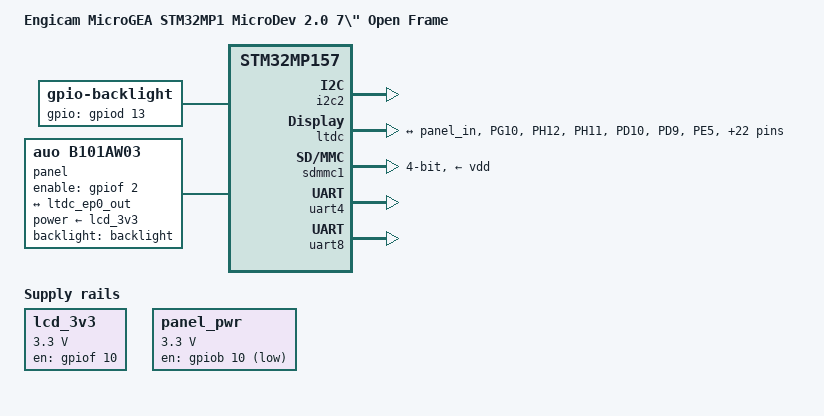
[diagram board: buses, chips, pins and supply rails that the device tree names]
// SPDX-License-Identifier: (GPL-2.0+ OR BSD-3-Clause)
/*
 * Copyright (c) STMicroelectronics 2019 - All Rights Reserved
 * Copyright (c) 2020 Engicam srl
 * Copyright (c) 2020 Amarula Solutons(India)
 */

/dts-v1/;
#include "stm32mp157.dtsi"
#include "stm32mp157a-microgea-stm32mp1.dtsi"
#include "stm32mp15-pinctrl.dtsi"
#include "stm32mp15xxaa-pinctrl.dtsi"
#include <dt-bindings/gpio/gpio.h>

/ {
	model = "Engicam MicroGEA STM32MP1 MicroDev 2.0 7\" Open Frame";
	compatible = "engicam,microgea-stm32mp1-microdev2.0-of7",
		     "engicam,microgea-stm32mp1", "st,stm32mp157";

	aliases {
		serial0 = &uart4;
		serial1 = &uart8;
	};

	chosen {
		stdout-path = "serial0:115200n8";
	};

	backlight: backlight {
		compatible = "gpio-backlight";
		gpios = <&gpiod 13 GPIO_ACTIVE_HIGH>;
		default-on;
	};

	lcd_3v3: regulator-lcd-3v3 {
		compatible = "regulator-fixed";
		regulator-name = "lcd_3v3";
		regulator-min-microvolt = <3300000>;
		regulator-max-microvolt = <3300000>;
		gpio = <&gpiof 10 GPIO_ACTIVE_HIGH>;
		enable-active-high;
		regulator-always-on;
		power-supply = <&panel_pwr>;
	};

	panel_pwr: regulator-panel-pwr {
		compatible = "regulator-fixed";
		regulator-name = "panel_pwr";
		regulator-min-microvolt = <3300000>;
		regulator-max-microvolt = <3300000>;
		gpio = <&gpiob 10 GPIO_ACTIVE_HIGH>;
		regulator-always-on;
	};

	panel {
		compatible = "auo,b101aw03";
		backlight = <&backlight>;
		enable-gpios = <&gpiof 2 GPIO_ACTIVE_HIGH>;
		power-supply = <&lcd_3v3>;

		port {
			panel_in: endpoint {
				remote-endpoint = <&ltdc_ep0_out>;
			};
		};
	};
};

&i2c2 {
	i2c-scl-falling-time-ns = <20>;
	i2c-scl-rising-time-ns = <185>;
	pinctrl-names = "default", "sleep";
	pinctrl-0 = <&i2c2_pins_a>;
	pinctrl-1 = <&i2c2_sleep_pins_a>;
	status = "okay";
};

&ltdc {
	pinctrl-names = "default";
	pinctrl-0 = <&ltdc_pins>;
	status = "okay";

	port {
		ltdc_ep0_out: endpoint@0 {
			reg = <0>;
			remote-endpoint = <&panel_in>;
		};
	};
};

&pinctrl {
	ltdc_pins: ltdc-0 {
		pins {
			pinmux = <STM32_PINMUX('G', 10, AF14)>,	/* LTDC_B2 */
				 <STM32_PINMUX('H', 12, AF14)>,	/* LTDC_R6 */
				 <STM32_PINMUX('H', 11, AF14)>,	/* LTDC_R5 */
				 <STM32_PINMUX('D', 10, AF14)>,	/* LTDC_B3 */
				 <STM32_PINMUX('D', 9, AF14)>,	/* LTDC_B0 */
				 <STM32_PINMUX('E', 5, AF14)>,	/* LTDC_G0 */
				 <STM32_PINMUX('E', 6, AF14)>,	/* LTDC_G1 */
				 <STM32_PINMUX('E', 13, AF14)>,	/* LTDC_DE */
				 <STM32_PINMUX('E', 15, AF14)>,	/* LTDC_R7 */
				 <STM32_PINMUX('G', 7, AF14)>,	/* LTDC_CLK */
				 <STM32_PINMUX('G', 12, AF14)>,	/* LTDC_B1 */
				 <STM32_PINMUX('H', 2, AF14)>,	/* LTDC_R0 */
				 <STM32_PINMUX('H', 3, AF14)>,	/* LTDC_R1 */
				 <STM32_PINMUX('H', 8, AF14)>,	/* LTDC_R2 */
				 <STM32_PINMUX('H', 9, AF14)>,	/* LTDC_R3 */
				 <STM32_PINMUX('H', 10, AF14)>,	/* LTDC_R4 */
				 <STM32_PINMUX('H', 13, AF14)>,	/* LTDC_G2 */
				 <STM32_PINMUX('H', 14, AF14)>,	/* LTDC_G3 */
				 <STM32_PINMUX('H', 15, AF14)>,	/* LTDC_G4 */
				 <STM32_PINMUX('I', 0, AF14)>,	/* LTDC_G5 */
				 <STM32_PINMUX('I', 1, AF14)>,	/* LTDC_G6 */
				 <STM32_PINMUX('I', 2, AF14)>,	/* LTDC_G7 */
				 <STM32_PINMUX('I', 4, AF14)>,	/* LTDC_B4 */
				 <STM32_PINMUX('I', 5, AF14)>,	/* LTDC_B5 */
				 <STM32_PINMUX('B', 8, AF14)>,	/* LTDC_B6 */
				 <STM32_PINMUX('I', 7, AF14)>,	/* LTDC_B7 */
				 <STM32_PINMUX('I', 9, AF14)>,	/* LTDC_VSYNC */
				 <STM32_PINMUX('I', 10, AF14)>;	/* LTDC_HSYNC */
			bias-disable;
			drive-push-pull;
			slew-rate = <3>;
		};
	};
};

&sdmmc1 {
	bus-width = <4>;
	disable-wp;
	pinctrl-names = "default", "opendrain", "sleep";
	pinctrl-0 = <&sdmmc1_b4_pins_a>;
	pinctrl-1 = <&sdmmc1_b4_od_pins_a>;
	pinctrl-2 = <&sdmmc1_b4_sleep_pins_a>;
	st,neg-edge;
	vmmc-supply = <&vdd>;
	status = "okay";
};

&uart4 {
	pinctrl-names = "default", "sleep", "idle";
	pinctrl-0 = <&uart4_pins_a>;
	pinctrl-1 = <&uart4_sleep_pins_a>;
	pinctrl-2 = <&uart4_idle_pins_a>;
	/delete-property/dmas;
	/delete-property/dma-names;
	status = "okay";
};

/* J31: RS323 */
&uart8 {
	pinctrl-names = "default";
	pinctrl-0 = <&uart8_pins_a>;
	/delete-property/dmas;
	/delete-property/dma-names;
	status = "okay";
};
